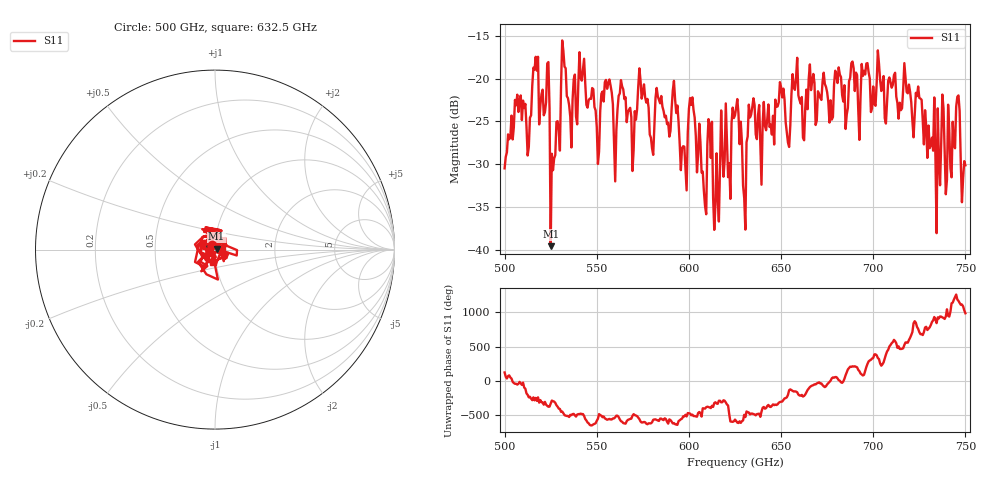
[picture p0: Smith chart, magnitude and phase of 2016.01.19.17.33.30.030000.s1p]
!Created with skrf (http://scikit-rf.org).
# GHz S RI R 50.0
!freq ReS11 ImS11
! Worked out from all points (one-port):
!   401 points, 500 GHz to 750 GHz, reference 50 ohm
!   lowest |S11| = -39.6 dB at 525 GHz (marker M1), VSWR 1.02, Z = 50.9 + j0.58 ohm
!   |S11| at or under -10 dB: start of sweep to end of sweep
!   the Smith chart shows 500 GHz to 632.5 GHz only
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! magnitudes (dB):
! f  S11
! 500 GHz  -30.5
! 506.9 GHz  -21.9
! 513.1 GHz  -28.0
! 516.9 GHz  -17.4
! 523.1 GHz  -18.2
! 525 GHz  -39.6
! 526.2 GHz  -30.7
! 531.2 GHz  -15.5
! 535.6 GHz  -24.4
! 541.9 GHz  -20.2
! 550.6 GHz  -30.0
! 562.5 GHz  -21.7
! 593.8 GHz  -23.1
! 597.5 GHz  -28.0
! 601.9 GHz  -22.2
! 608.1 GHz  -33.2
! 611.2 GHz  -25.5
! 615 GHz  -28.7
! 625 GHz  -24.3
! 630 GHz  -34.0
! 633.8 GHz  -24.2
! 653.8 GHz  -27.5
! 656.2 GHz  -19.5
! 687.5 GHz  -19.9
! 718.8 GHz  -21.7
! 735 GHz  -23.5
! 745.6 GHz  -22.1
! 750 GHz  -30.1
